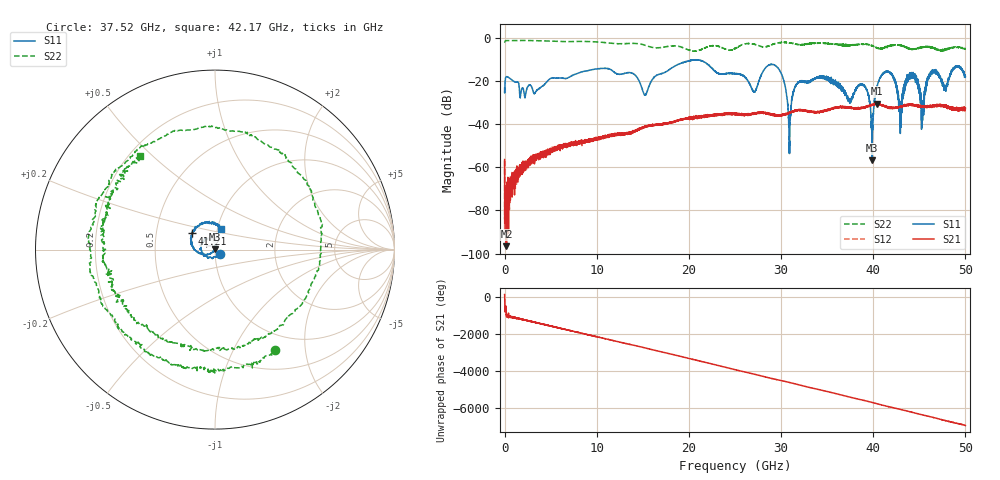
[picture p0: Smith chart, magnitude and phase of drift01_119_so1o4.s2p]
!Created with skrf (http://scikit-rf.org).
# Hz S RI R 50.0
!freq ReS11 ImS11 ReS21 ImS21 ReS12 ImS12 ReS22 ImS22
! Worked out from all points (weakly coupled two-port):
!   10001 points, 300 kHz to 50 GHz, reference 50 ohm
!   highest |S21| = -30.54 dB at 40.41 GHz (marker M1); lowest = -96.5 dB at 205.3 MHz (marker M2)
!   lowest |S11| = -56.7 dB at 39.89 GHz (marker M3), VSWR 1.00, Z = 49.9 + j0.0641 ohm
!   |S11| at or under -10 dB: start of sweep to end of sweep
!   |S22| runs from -6.4 to -1.4 dB; largest |S21 - S12| = 0.0039
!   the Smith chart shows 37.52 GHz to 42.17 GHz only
!   S11 on the Smith chart (normalised r, x): 37.52 GHz: 1.05, -0.05; 41.21 GHz: 0.76, +0.14; 42.17 GHz: 1.04, +0.24
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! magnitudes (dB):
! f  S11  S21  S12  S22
! 300 kHz  -23.4  -56.4  -57.1  -2.0
! 205.3 MHz  -18.1  -96.5  -72.2  -1.4
! 8.335 GHz  -15.9  -48.1  -48.6  -1.8
! 16.67 GHz  -17.1  -40.2  -40.4  -4.8
! 25 GHz  -16.7  -35.0  -35.7  -5.1
! 27.1 GHz  -25.2  -35.1  -35.1  -3.1
! 29.44 GHz  -13.1  -36.0  -36.0  -2.8
! 30.92 GHz  -53.7  -34.8  -34.7  -2.5
! 31.67 GHz  -21.6  -33.7  -33.8  -3.1
! 33.34 GHz  -19.8  -34.3  -34.0  -2.6
! 37.52 GHz  -28.6  -32.4  -32.6  -3.8
! 38.97 GHz  -21.9  -32.2  -32.3  -3.2
! 39.89 GHz  -56.7  -31.1  -31.0  -3.8
! 40.41 GHz  -22.8  -30.5  -30.9  -4.9
! 41.21 GHz  -16.2  -31.5  -31.6  -4.7
! 41.67 GHz  -15.8  -32.2  -32.5  -4.1
! 42.17 GHz  -18.4  -32.6  -32.7  -3.5
! 42.97 GHz  -40.2  -32.0  -31.9  -3.7
! 44.01 GHz  -16.7  -31.1  -31.0  -5.2
! 45.31 GHz  -38.6  -32.1  -32.2  -4.4
! 46.41 GHz  -14.9  -31.4  -31.8  -4.8
! 50 GHz  -18.1  -32.7  -32.8  -5.3
